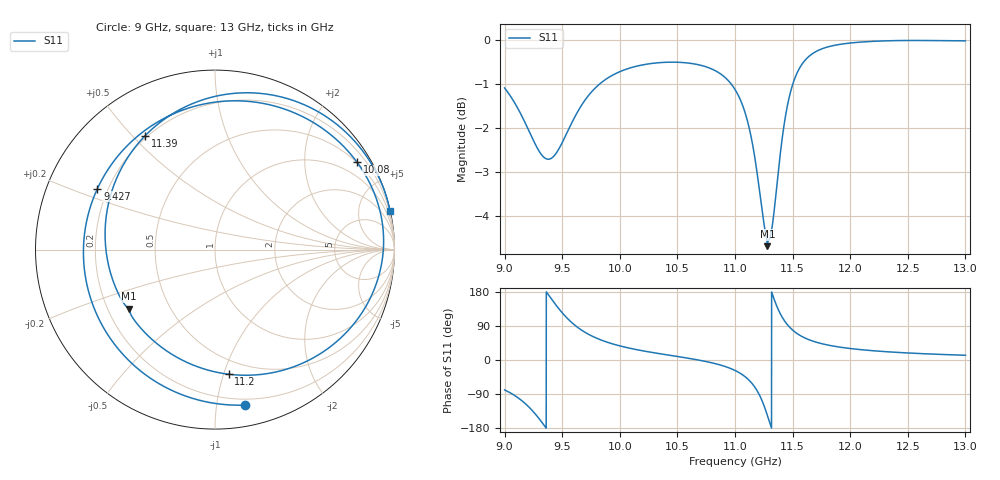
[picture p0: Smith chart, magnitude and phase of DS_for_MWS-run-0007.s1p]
! TOUCHSTONE file generated by CST DESIGN STUDIO
! Date and time: Tue Feb  4 13:04:46 2025
! Project name: C:\Work\MatlabApps\UnitCellOptimizationMatlab\CST\unitcell.cst
! Tree item: Tasks\Sweep1\SPara1\S-Parameters
! Header version: 2024
! Port assignment regex: !\s*Touchstone port\s*([0-9]+)\s*=\s*(CST MWS port|CST DES external port|CST DES block port)\s*(.+)\s* \(\"(.*)\"\)(\s*mode\s*([0-9]+))?.*
! Touchstone port assignment:
! Touchstone port 1 = CST DES external port 1 ("")
# GHz S MA R 50
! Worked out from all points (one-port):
!   4001 points, 9 GHz to 13 GHz, reference 50 ohm
!   lowest |S11| = -4.7 dB at 11.28 GHz (marker M1), VSWR 3.80, Z = 14.3 - j14.3 ohm
!   |S11| at or under -10 dB: nowhere
!   S11 on the Smith chart (normalised r, x): 9 GHz: 0.15, -1.20; 9.427 GHz: 0.16, +0.24; 10.08 GHz: 0.49, +3.48; 11.2 GHz: 0.38, -1.04; 11.39 GHz: 0.19, +0.54; 13 GHz: 0.07, +9.11
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9  0.8825 -79.0
9.119  0.8346 -100.3
9.213  0.7878 -124.7
9.329  0.7386 -166.5
9.427  0.738 152.5
9.5  0.7648 124.6
9.603  0.8151 93.5
9.738  0.8684 66.3
9.858  0.8988 50.4
10  0.921 37.2
10.079  0.9291 31.6
10.5  0.944 9.3
10.812  0.9257 -8.3
11  0.879 -27.6
11.108  0.8096 -49.3
11.197  0.6986 -83.7
11.24  0.633 -111.2
11.281  0.583 -145.6
11.309  0.5998 -172.0
11.334  0.6297 165.2
11.394  0.7442 121.6
11.442  0.8252 98.2
11.5  0.89 79.0
11.583  0.9398 61.7
11.684  0.9676 49.0
12  0.9927 30.3
12.5  0.9994 18.6
13  0.9984 12.5
